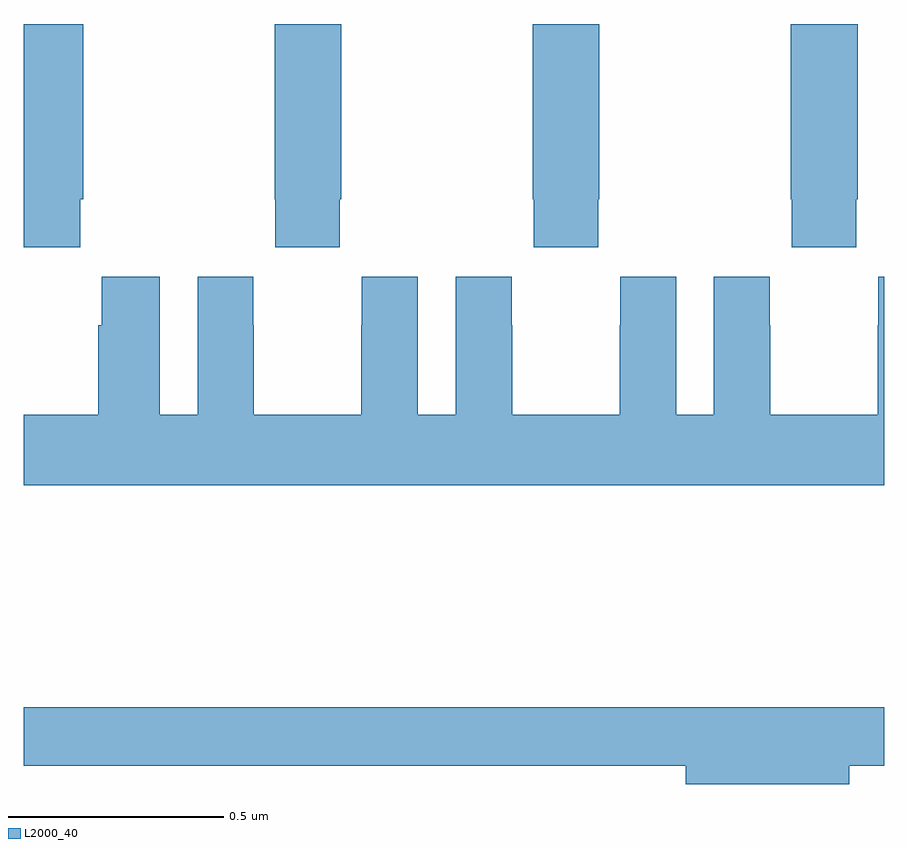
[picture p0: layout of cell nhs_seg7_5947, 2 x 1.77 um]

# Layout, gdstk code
import gdstk
lib = gdstk.Library(unit=1e-6, precision=1e-09)
def P(c, l, *ps):  # polygons
    for p in ps: c.add(gdstk.Polygon(p, *l))
L2000_40 = (2000, 40)

nhs_seg7_5947 = lib.new_cell('nhs_seg7_5947')
P(nhs_seg7_5947, L2000_40, [(192.131,1022.593),(192.138,1022.593),(192.138,1023),(192,1023),(192,1022.481),(192.131,1022.481)],
  [(192.735,1022.593),(192.738,1022.593),(192.738,1023),(192.583,1023),(192.583,1022.593),(192.585,1022.593),(192.585,1022.481),(192.735,1022.481)],
  [(193.335,1022.593),(193.338,1022.593),(193.338,1023),(193.183,1023),(193.183,1022.593),(193.185,1022.593),(193.185,1022.481),(193.335,1022.481)],
  [(193.935,1022.593),(193.938,1022.593),(193.938,1023),(193.783,1023),(193.783,1022.593),(193.785,1022.593),(193.785,1022.481),(193.935,1022.481)],
  [(194,1022.413),(193.986,1022.413),(193.986,1022.3),(193.985,1022.3),(193.985,1022.092),(193.735,1022.092),(193.735,1022.3),(193.734,1022.3),(193.734,1022.413),(193.604,1022.413),(193.604,1022.092),(193.516,1022.092),(193.516,1022.413),(193.386,1022.413),(193.386,1022.3),(193.385,1022.3),(193.385,1022.092),(193.135,1022.092),(193.135,1022.3),(193.134,1022.3),(193.134,1022.413),(193.004,1022.413),(193.004,1022.092),(192.916,1022.092),(192.916,1022.413),(192.786,1022.413),(192.786,1022.3),(192.785,1022.3),(192.785,1022.092),(192.535,1022.092),(192.535,1022.3),(192.534,1022.3),(192.534,1022.413),(192.404,1022.413),(192.404,1022.092),(192.316,1022.092),(192.316,1022.413),(192.182,1022.413),(192.182,1022.3),(192.173,1022.3),(192.173,1022.092),(192,1022.092),(192,1021.928),(194,1021.928)],
  [(193.918,1021.276),(194,1021.276),(194,1021.412),(192,1021.412),(192,1021.276),(193.538,1021.276),(193.538,1021.234),(193.918,1021.234)])

lib.write_gds('nhs_seg7_5947.gds')
